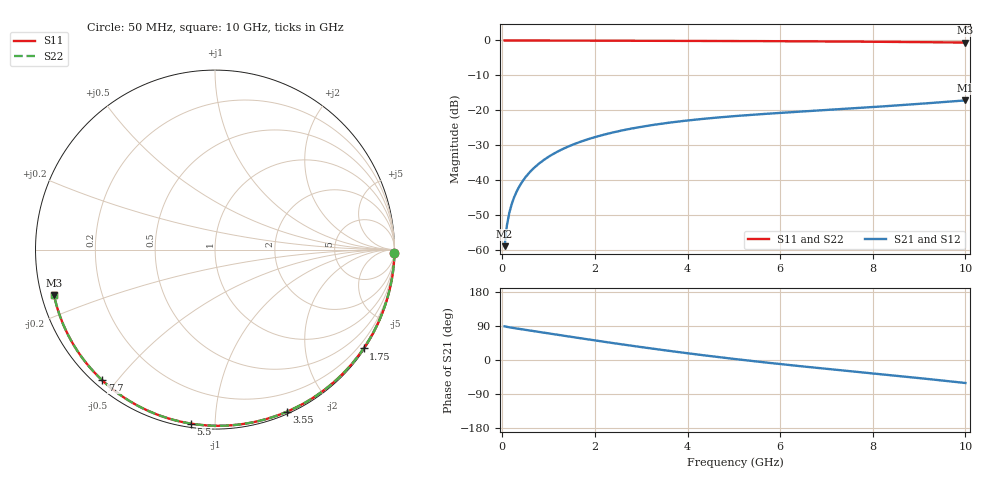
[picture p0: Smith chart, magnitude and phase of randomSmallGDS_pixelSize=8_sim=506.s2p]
! freq	dB(S11)	phase(S11)	dB(S12)	phase(S12)
!  dB(S21)	phase(S21)	dB(S22)	phase(S22)
!S-par simulation data
#  GHz  S  DB  R 50
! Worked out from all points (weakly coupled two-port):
!   200 points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, 50 MHz to 10 GHz, reference 50 ohm
!   highest |S21| = -17.20 dB at 10 GHz (marker M1); lowest = -59.0 dB at 50 MHz (marker M2)
!   lowest |S11| = -0.6 dB at 10 GHz (marker M3), VSWR 28.42, Z = 1.79 - j6.9 ohm
!   |S11| at or under -10 dB: nowhere
!   |S22| runs from -0.6 to 0.0 dB; largest |S21 - S12| = 0
!   S11 on the Smith chart (normalised r, x): 50 MHz: open; 1.75 GHz: 0.03, -3.31; 3.55 GHz: 0.02, -1.54; 5.5 GHz: 0.02, -0.87; 7.7 GHz: 0.02, -0.46; 10 GHz: 0.04, -0.14
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0.05  -0.00 -1.0  -59.01 88.6  -59.01 88.6  -0.00 -1.0
0.1  -0.00 -2.0  -53.02 87.4  -53.02 87.4  -0.00 -2.0
0.15  -0.00 -2.9  -49.54 86.3  -49.54 86.3  -0.00 -2.9
0.2  -0.00 -3.9  -47.08 85.2  -47.08 85.2  -0.00 -3.9
0.25  -0.00 -4.9  -45.17 84.3  -45.17 84.3  -0.00 -4.9
0.35  -0.01 -6.9  -42.30 82.4  -42.30 82.4  -0.01 -6.9
0.5  -0.01 -9.8  -39.25 79.6  -39.25 79.6  -0.01 -9.8
0.7  -0.02 -13.7  -36.38 75.9  -36.38 75.9  -0.02 -13.7
1  -0.03 -19.4  -33.36 70.3  -33.36 70.3  -0.03 -19.4
1.35  -0.04 -26.1  -30.87 63.7  -30.87 63.7  -0.04 -26.1
1.75  -0.05 -33.6  -28.77 56.3  -28.77 56.3  -0.05 -33.6
2.6  -0.07 -49.3  -25.78 41.0  -25.78 41.0  -0.07 -49.3
3.4  -0.10 -63.5  -23.95 27.4  -23.95 27.4  -0.10 -63.5
3.55  -0.11 -66.0  -23.68 25.0  -23.68 25.0  -0.11 -66.0
4.3  -0.13 -78.7  -22.54 13.2  -22.54 13.2  -0.13 -78.7
5.05  -0.16 -90.9  -21.67 2.2  -21.67 2.2  -0.16 -90.9
5.5  -0.19 -98.0  -21.22 -4.0  -21.22 -4.0  -0.19 -98.0
6.7  -0.26 -116.2  -20.20 -19.6  -20.20 -19.6  -0.26 -116.2
7.7  -0.34 -130.8  -19.36 -31.8  -19.36 -31.8  -0.34 -130.8
8.35  -0.40 -140.2  -18.79 -39.7  -18.79 -39.7  -0.40 -140.2
9.2  -0.50 -152.5  -18.00 -50.2  -18.00 -50.2  -0.50 -152.5
10  -0.61 -164.3  -17.20 -60.7  -17.20 -60.7  -0.61 -164.3
